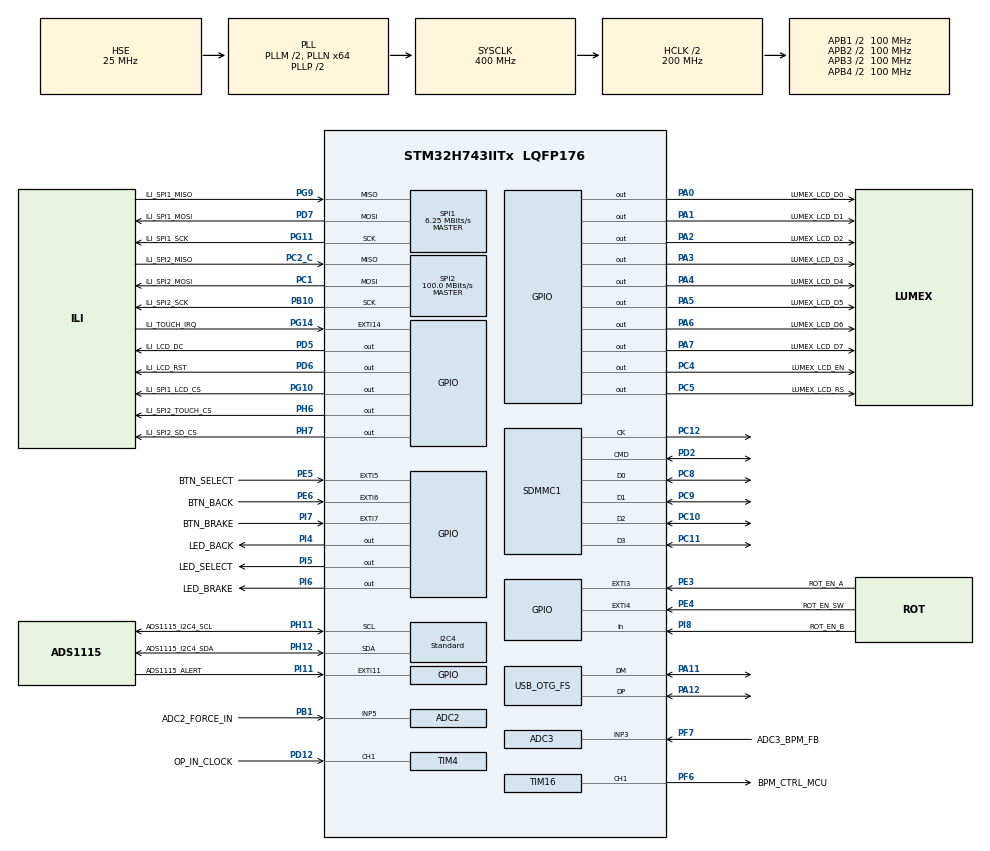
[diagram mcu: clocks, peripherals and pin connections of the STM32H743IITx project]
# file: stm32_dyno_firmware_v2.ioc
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ADC2.Channel-0\#ChannelRegularConversion=ADC_CHANNEL_5
ADC2.ClockPrescaler=ADC_CLOCK_ASYNC_DIV2
ADC2.NbrOfConversionFlag=1
ADC2.OffsetNumber-0\#ChannelRegularConversion=ADC_OFFSET_NONE
ADC2.OffsetSignedSaturation-0\#ChannelRegularConversion=DISABLE
ADC2.Rank-0\#ChannelRegularConversion=1
ADC2.SamplingTime-0\#ChannelRegularConversion=ADC_SAMPLETIME_1CYCLE_5
ADC3.Channel-0\#ChannelRegularConversion=ADC_CHANNEL_3
ADC3.ClockPrescaler=ADC_CLOCK_ASYNC_DIV2
ADC3.NbrOfConversionFlag=1
ADC3.OffsetNumber-0\#ChannelRegularConversion=ADC_OFFSET_NONE
ADC3.OffsetSignedSaturation-0\#ChannelRegularConversion=DISABLE
ADC3.Rank-0\#ChannelRegularConversion=1
ADC3.SamplingTime-0\#ChannelRegularConversion=ADC_SAMPLETIME_1CYCLE_5
CORTEX_M7.default_mode_Activation=1
FREERTOS.Queues01=sessionControllerToDisplay,25,session_controller_to_display,0,Dynamic,NULL,NULL; sessionControllerToBpm,10,session_controller_to_bpm,0,Dynamic,NULL,NULL; sessionControllerToForceSensor,16,bool,0,Dynamic,NULL,NULL; sessionControllerToPidController,5,session_controller_to_pid_controller,0,Dynamic,NULL,NULL; opticalEncoderToPidController,10,optical_encoder_output_data,0,Dynamic,NULL,NULL; pidControllerToBpm,10,float,0,Dynamic,NULL,NULL; sessionControllerToOpticalSensor,16,uint16_t,0,Dynamic,NULL,NULL;sessionControllertoUsbController,16,uint16_t,0,Dynamic,NULL,NULL;taskMonitorToUsbController,50,task_monitor_output_data,0,Dynamic,NULL,NULL;usbToForceSensorCommand,8,usb_task_command,0,Dynamic,NULL,NULL;usbToSessionControllerCommand,8,usb_task_command,0,Dynamic,NULL,NULL;taskToUsbControllerResponse,8,usb_task_completion,0,Dynamic,NULL,NULL;pidControllerToSessionControllerAck,5,bool,0,Dynamic,NULL,NULL
FREERTOS.Tasks01=usbTask,40,512,usbTaskEntryFunction,As weak,NULL,Dynamic,NULL,NULL; bpmTask,40,128,bpmTaskEntryFunction,As external,NULL,Dynamic,NULL,NULL; forceSensorTask,32,256,forceSensorTaskEntryFunction,As external,NULL,Dynamic,NULL,NULL; pidTask,40,256,pidControllerTaskEntryFunction,As external,NULL,Dynamic,NULL,NULL; opticalSensorTask,32,256,opticalSensorTaskEntryFunction,As external,NULL,Dynamic,NULL,NULL;sessionControllerTask,40,256,sessionControllerTaskEntryFunction,As external,NULL,Dynamic,NULL,NULL;lcdDisplayTask,16,256,lcdDisplayTaskEntryFunction,As external,NULL,Dynamic,NULL,NULL;ledBlinkTask,8,128,ledBlinkTaskEntryFunction,As external,NULL,Dynamic,NULL,NULL;taskMonitorTask,40,128,taskMonitorEntryFunction,As external,NULL,Dynamic,NULL,NULL
FREERTOS.configCHECK_FOR_STACK_OVERFLOW=2
FREERTOS.configENABLE_FPU=1
FREERTOS.configMAX_TASK_NAME_LEN=32
FREERTOS.configTOTAL_HEAP_SIZE=46080
FREERTOS.configUSE_NEWLIB_REENTRANT=1
I2C4.I2C_Speed_Mode=I2C_Standard
I2C4.Speed=100
I2C4.Timing=0x00C0EAFF
Mcu.Family=STM32H7
Mcu.Name=STM32H743IITx
Mcu.Package=LQFP176
NVIC.ADC_IRQn=true\:5\:0\:false\:false\:true\:true\:true\:true\:true
NVIC.EXTI15_10_IRQn=true\:5\:0\:false\:false\:true\:true\:true\:true\:true
NVIC.EXTI3_IRQn=true\:5\:0\:false\:false\:true\:true\:true\:true\:true
NVIC.EXTI4_IRQn=true\:5\:0\:false\:false\:true\:true\:true\:true\:true
NVIC.EXTI9_5_IRQn=true\:5\:0\:false\:false\:true\:true\:true\:true\:true
NVIC.OTG_FS_IRQn=true\:5\:0\:false\:false\:true\:true\:false\:true\:true
NVIC.PriorityGroup=NVIC_PRIORITYGROUP_4
NVIC.TIM17_IRQn=true\:15\:0\:false\:false\:true\:false\:false\:true\:true
NVIC.TIM4_IRQn=true\:5\:0\:false\:false\:true\:true\:true\:true\:true
NVIC.TimeBase=TIM17_IRQn
NVIC.TimeBaseIP=TIM17
PA0.GPIO_Label=LUMEX_LCD_D0
PA0.GPIO_PuPd=GPIO_PULLUP
PA0.Signal=GPIO_Output
PA1.GPIO_Label=LUMEX_LCD_D1
PA1.GPIO_PuPd=GPIO_PULLUP
PA1.Signal=GPIO_Output
PA11.Mode=Device_Only
PA11.Signal=USB_OTG_FS_DM
PA12.Mode=Device_Only
PA12.Signal=USB_OTG_FS_DP
PA13\ (JTMS/SWDIO).Signal=DEBUG_JTMS-SWDIO
PA14\ (JTCK/SWCLK).Signal=DEBUG_JTCK-SWCLK
PA2.GPIO_Label=LUMEX_LCD_D2
PA2.GPIO_PuPd=GPIO_PULLUP
PA2.Signal=GPIO_Output
PA3.GPIO_Label=LUMEX_LCD_D3
PA3.GPIO_PuPd=GPIO_PULLUP
PA3.Signal=GPIO_Output
PA4.GPIO_Label=LUMEX_LCD_D4
PA4.GPIO_PuPd=GPIO_PULLUP
PA4.Signal=GPIO_Output
PA5.GPIO_Label=LUMEX_LCD_D5
PA5.GPIO_PuPd=GPIO_PULLUP
PA5.Signal=GPIO_Output
PA6.GPIO_Label=LUMEX_LCD_D6
PA6.GPIO_PuPd=GPIO_PULLUP
PA6.Signal=GPIO_Output
PA7.GPIO_Label=LUMEX_LCD_D7
PA7.GPIO_PuPd=GPIO_PULLUP
PA7.Signal=GPIO_Output
PB1.GPIO_Label=ADC2_FORCE_IN
PB1.Signal=ADCx_INP5
PB10.GPIO_Label=ILI_SPI2_SCK
PB10.Mode=Full_Duplex_Master
PB10.Signal=SPI2_SCK
PC1.GPIO_Label=ILI_SPI2_MOSI
PC1.Mode=Full_Duplex_Master
PC1.Signal=SPI2_MOSI
PC10.Mode=SD_4_bits_Wide_bus
PC10.Signal=SDMMC1_D2
PC11.Mode=SD_4_bits_Wide_bus
PC11.Signal=SDMMC1_D3
PC12.Mode=SD_4_bits_Wide_bus
PC12.Signal=SDMMC1_CK
PC14-OSC32_IN\ (OSC32_IN).Mode=LSE-External-Oscillator
PC14-OSC32_IN\ (OSC32_IN).Signal=RCC_OSC32_IN
PC15-OSC32_OUT\ (OSC32_OUT).Mode=LSE-External-Oscillator
PC15-OSC32_OUT\ (OSC32_OUT).Signal=RCC_OSC32_OUT
PC2_C.GPIO_Label=ILI_SPI2_MISO
PC2_C.GPIO_Speed=GPIO_SPEED_FREQ_LOW
PC2_C.Mode=Full_Duplex_Master
PC2_C.Signal=SPI2_MISO
PC4.GPIO_Label=LUMEX_LCD_EN
PC4.GPIO_PuPd=GPIO_PULLUP
PC4.Signal=GPIO_Output
PC5.GPIO_Label=LUMEX_LCD_RS
PC5.GPIO_PuPd=GPIO_PULLUP
PC5.Signal=GPIO_Output
PC8.Mode=SD_4_bits_Wide_bus
PC8.Signal=SDMMC1_D0
PC9.Mode=SD_4_bits_Wide_bus
PC9.Signal=SDMMC1_D1
PD12.GPIO_Label=OP_IN_CLOCK
PD12.Signal=S_TIM4_CH1
PD2.Mode=SD_4_bits_Wide_bus
PD2.Signal=SDMMC1_CMD
PD5.GPIO_Label=ILI_LCD_DC
PD5.Signal=GPIO_Output
PD6.GPIO_Label=ILI_LCD_RST
PD6.GPIO_Speed=GPIO_SPEED_FREQ_LOW
PD6.PinState=GPIO_PIN_SET
PD6.Signal=GPIO_Output
PD7.GPIO_Label=ILI_SPI1_MOSI
PD7.GPIO_Speed=GPIO_SPEED_FREQ_LOW
PD7.Mode=Full_Duplex_Master
PD7.Signal=SPI1_MOSI
PE3.GPIO_Label=ROT_EN_A
PE3.GPIO_ModeDefaultEXTI=GPIO_MODE_IT_FALLING
PE3.GPIO_PuPd=GPIO_PULLUP
PE3.Signal=GPXTI3
PE4.GPIO_Label=ROT_EN_SW
PE4.GPIO_ModeDefaultEXTI=GPIO_MODE_IT_FALLING
PE4.GPIO_PuPd=GPIO_PULLUP
PE4.Signal=GPXTI4
PE5.GPIO_Label=BTN_SELECT
PE5.GPIO_ModeDefaultEXTI=GPIO_MODE_IT_RISING_FALLING
PE5.GPIO_PuPd=GPIO_PULLUP
PE5.Signal=GPXTI5
PE6.GPIO_Label=BTN_BACK
PE6.GPIO_ModeDefaultEXTI=GPIO_MODE_IT_RISING_FALLING
PE6.GPIO_PuPd=GPIO_PULLUP
PE6.Signal=GPXTI6
PF6.GPIO_Label=BPM_CTRL_MCU
PF6.GPIO_PuPd=GPIO_PULLDOWN
PF6.GPIO_Speed=GPIO_SPEED_FREQ_MEDIUM
PF6.Signal=S_TIM16_CH1
PF7.GPIO_Label=ADC3_BPM_FB
PF7.Mode=IN3-Single-Ended
PF7.Signal=ADC3_INP3
PG10.GPIO_Label=ILI_SPI1_LCD_CS
PG10.GPIO_Speed=GPIO_SPEED_FREQ_MEDIUM
PG10.PinState=GPIO_PIN_SET
PG10.Signal=GPIO_Output
PG11.GPIO_Label=ILI_SPI1_SCK
PG11.GPIO_Speed=GPIO_SPEED_FREQ_LOW
PG11.Mode=Full_Duplex_Master
PG11.Signal=SPI1_SCK
PG14.GPIO_Label=ILI_TOUCH_IRQ
PG14.GPIO_ModeDefaultEXTI=GPIO_MODE_IT_FALLING
PG14.GPIO_PuPd=GPIO_PULLUP
PG14.Signal=GPXTI14
PG9.GPIO_Label=ILI_SPI1_MISO
PG9.GPIO_Speed=GPIO_SPEED_FREQ_LOW
PG9.Mode=Full_Duplex_Master
PG9.Signal=SPI1_MISO
PH0-OSC_IN\ (PH0).Mode=HSE-External-Oscillator
PH0-OSC_IN\ (PH0).Signal=RCC_OSC_IN
PH1-OSC_OUT\ (PH1).Mode=HSE-External-Oscillator
PH1-OSC_OUT\ (PH1).Signal=RCC_OSC_OUT
PH11.GPIO_Label=ADS1115_I2C4_SCL
PH11.Mode=I2C
PH11.Signal=I2C4_SCL
PH12.GPIO_Label=ADS1115_I2C4_SDA
PH12.Mode=I2C
PH12.Signal=I2C4_SDA
PH6.GPIO_Label=ILI_SPI2_TOUCH_CS
PH6.GPIO_Speed=GPIO_SPEED_FREQ_MEDIUM
PH6.Signal=GPIO_Output
PH7.GPIO_Label=ILI_SPI2_SD_CS
PH7.Signal=GPIO_Output
PI11.GPIO_Label=ADS1115_ALERT
PI11.GPIO_ModeDefaultEXTI=GPIO_MODE_IT_FALLING
PI11.GPIO_PuPd=GPIO_PULLUP
PI11.Signal=GPXTI11
PI4.GPIO_Label=LED_BACK
PI4.GPIO_PuPd=GPIO_NOPULL
PI4.PinState=GPIO_PIN_SET
PI4.Signal=GPIO_Output
PI5.GPIO_Label=LED_SELECT
PI5.GPIO_PuPd=GPIO_NOPULL
PI5.PinState=GPIO_PIN_SET
PI5.Signal=GPIO_Output
PI6.GPIO_Label=LED_BRAKE
PI6.GPIO_PuPd=GPIO_NOPULL
PI6.PinState=GPIO_PIN_SET
PI6.Signal=GPIO_Output
PI7.GPIO_Label=BTN_BRAKE
PI7.GPIO_ModeDefaultEXTI=GPIO_MODE_IT_RISING_FALLING
PI7.GPIO_PuPd=GPIO_PULLDOWN
PI7.Signal=GPXTI7
PI8.GPIO_Label=ROT_EN_B
PI8.GPIO_PuPd=GPIO_PULLUP
PI8.Signal=GPIO_Input
ProjectManager.HeapSize=0x200
ProjectManager.StackSize=0x400
ProjectManager.TargetToolchain=CMake
RCC.ADCCLockSelection=RCC_ADCCLKSOURCE_PLL3
RCC.ADCFreq_Value=50000000
RCC.APB1Freq_Value=100000000
RCC.APB2Freq_Value=100000000
RCC.APB3Freq_Value=100000000
RCC.APB4Freq_Value=100000000
RCC.CortexFreq_Value=400000000
RCC.D1PPRE=RCC_APB3_DIV2
RCC.D2PPRE1=RCC_APB1_DIV2
RCC.D2PPRE2=RCC_APB2_DIV2
RCC.D3PPRE=RCC_APB4_DIV2
RCC.DIVM1=2
RCC.DIVM2=2
RCC.DIVM3=2
RCC.DIVN1=64
RCC.DIVN2=32
RCC.DIVN3=32
RCC.DIVQ1=4
RCC.DIVQ2=8
RCC.DIVQ3=8
RCC.DIVR3=8
RCC.HCLKFreq_Value=200000000
RCC.HPRE=RCC_HCLK_DIV2
RCC.I2C123CLockSelection=RCC_I2C123CLKSOURCE_PLL3
RCC.I2C4CLockSelection=RCC_I2C4CLKSOURCE_PLL3
RCC.PLL2FRACN=0
RCC.PLL3FRACN=0
RCC.PLLFRACN=0
RCC.PLLSourceVirtual=RCC_PLLSOURCE_HSE
RCC.SYSCLKFreq_VALUE=400000000
RCC.SYSCLKSource=RCC_SYSCLKSOURCE_PLLCLK
RCC.USBCLockSelection=RCC_USBCLKSOURCE_PLL3
RCC.USBFreq_Value=50000000
SH.ADCx_INP5.0=ADC2_INP5,IN5-Single-Ended
SH.S_TIM16_CH1.0=TIM16_CH1,PWM Generation1 CH1
SH.S_TIM4_CH1.0=TIM4_CH1,TriggerSource_TI1FP1
SPI1.BaudRatePrescaler=SPI_BAUDRATEPRESCALER_32
SPI1.CalculateBaudRate=6.25 MBits/s
SPI1.DataSize=SPI_DATASIZE_8BIT
SPI1.Direction=SPI_DIRECTION_2LINES
SPI1.Mode=SPI_MODE_MASTER
SPI1.VirtualType=VM_MASTER
SPI2.CalculateBaudRate=100.0 MBits/s
SPI2.Direction=SPI_DIRECTION_2LINES
SPI2.Mode=SPI_MODE_MASTER
SPI2.VirtualType=VM_MASTER
TIM16.AutoReloadPreload=TIM_AUTORELOAD_PRELOAD_ENABLE
TIM16.Channel=TIM_CHANNEL_1
TIM16.OCPolarity_1=TIM_OCPOLARITY_HIGH
TIM16.Period=200-1
TIM16.Prescaler=200-1
TIM16.Pulse=0
TIM2.AutoReloadPreload=TIM_AUTORELOAD_PRELOAD_ENABLE
TIM2.Prescaler=200-1
USB_DEVICE.CLASS_NAME_FS=CDC
USB_DEVICE.VirtualMode-CDC_FS=Cdc
USB_DEVICE.VirtualModeFS=Cdc_FS
USB_OTG_FS.VirtualMode=Device_Only
VP_FREERTOS_VS_CMSIS_V2.Mode=CMSIS_V2
VP_MEMORYMAP_VS_MEMORYMAP.Mode=CurAppReg
VP_SYS_VS_tim17.Mode=TIM17
VP_TIM16_VS_ClockSourceINT.Mode=Enable_Timer
VP_TIM1_VS_ClockSourceINT.Mode=Internal
VP_TIM2_VS_ClockSourceINT.Mode=Internal
VP_TIM4_VS_ControllerModeClock.Mode=Clock Mode
VP_USB_DEVICE_VS_USB_DEVICE_CDC_FS.Mode=CDC_FS
board=custom

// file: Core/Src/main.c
/* USER CODE BEGIN Header */
/**
  ******************************************************************************
  * @file           : main.c
  * @brief          : Main program body
  ******************************************************************************
  * @attention
  *
  * Copyright (c) 2025 STMicroelectronics.
  * All rights reserved.
  *
  * This software is licensed under terms that can be found in the LICENSE file
  * in the root directory of this software component.
  * If no LICENSE file comes with this software, it is provided AS-IS.
  *
  ******************************************************************************
  */
/* USER CODE END Header */
#include "main.h"
#include "cmsis_os.h"
#include "usb_device.h"

/* USER CODE BEGIN Includes */
#include <Tasks/BPM/bpm_main.h>
#include <Tasks/ForceSensor/ADC/forcesensor_adc_main.h>
#include <Tasks/ForceSensor/ADS1115/forcesensor_ads1115_main.h>
#include <Tasks/Display/Lumex/lumexlcd_main.h>
#include <Tasks/Display/ILI9341/ili9341_main.h>
#include <Tasks/PID/pid_main.h>
#include <Tasks/OpticalSensor/opticalsensor_main.h>

#include <Tasks/SessionController/input_manager_interrupts.h>
#include <Tasks/SessionController/sessioncontroller_main.h>

#include <Tasks/TaskMonitor/taskmonitor_main.h>

#include <Tasks/USB/usbcontroller_main.h>

#include <Config/debug.h>
#include <Config/sysconfig.h>

#include <MessagePassing/messages_private.h>

#include <TimeKeeping/timestamps.h>

/* USER CODE END Includes */

ADC_HandleTypeDef hadc2;
ADC_HandleTypeDef hadc3;

I2C_HandleTypeDef hi2c4;

SD_HandleTypeDef hsd1;

SPI_HandleTypeDef hspi1;
SPI_HandleTypeDef hspi2;

TIM_HandleTypeDef htim1;
TIM_HandleTypeDef htim2;
TIM_HandleTypeDef htim4;
TIM_HandleTypeDef htim16;

/* Definitions for usbTask */
osThreadId_t usbTaskHandle;
const osThreadAttr_t usbTask_attributes = {
  .name = "usbTask",
  .stack_size = 512 * 4,
  .priority = (osPriority_t) osPriorityHigh,
};
/* Definitions for bpmTask */
osThreadId_t bpmTaskHandle;
const osThreadAttr_t bpmTask_attributes = {
  .name = " bpmTask",
  .stack_size = 128 * 4,
  .priority = (osPriority_t) osPriorityHigh,
};
/* Definitions for forceSensorTask */
osThreadId_t forceSensorTaskHandle;
const osThreadAttr_t forceSensorTask_attributes = {
  .name = " forceSensorTask",
  .stack_size = 256 * 4,
  .priority = (osPriority_t) osPriorityAboveNormal,
};
/* Definitions for pidTask */
osThreadId_t pidTaskHandle;
const osThreadAttr_t pidTask_attributes = {
  .name = " pidTask",
  .stack_size = 256 * 4,
  .priority = (osPriority_t) osPriorityHigh,
};
/* Definitions for opticalSensorTask */
osThreadId_t opticalSensorTaskHandle;
const osThreadAttr_t opticalSensorTask_attributes = {
  .name = " opticalSensorTask",
  .stack_size = 256 * 4,
  .priority = (osPriority_t) osPriorityAboveNormal,
};
/* Definitions for sessionControllerTask */
osThreadId_t sessionControllerTaskHandle;
const osThreadAttr_t sessionControllerTask_attributes = {
  .name = "sessionControllerTask",
  .stack_size = 256 * 4,
  .priority = (osPriority_t) osPriorityHigh,
};
/* Definitions for lcdDisplayTask */
osThreadId_t lcdDisplayTaskHandle;
const osThreadAttr_t lcdDisplayTask_attributes = {
  .name = "lcdDisplayTask",
  .stack_size = 256 * 4,
  .priority = (osPriority_t) osPriorityBelowNormal,
};
/* Definitions for ledBlinkTask */
osThreadId_t ledBlinkTaskHandle;
const osThreadAttr_t ledBlinkTask_attributes = {
  .name = "ledBlinkTask",
  .stack_size = 128 * 4,
  .priority = (osPriority_t) osPriorityLow,
};
/* Definitions for taskMonitorTask */
osThreadId_t taskMonitorTaskHandle;
const osThreadAttr_t taskMonitorTask_attributes = {
  .name = "taskMonitorTask",
  .stack_size = 128 * 4,
  .priority = (osPriority_t) osPriorityHigh,
};
/* Definitions for sessionControllerToDisplay */
osMessageQueueId_t sessionControllerToDisplayHandle;
const osMessageQueueAttr_t sessionControllerToDisplay_attributes = {
  .name = "sessionControllerToDisplay"
};
/* Definitions for sessionControllerToBpm */
osMessageQueueId_t sessionControllerToBpmHandle;
const osMessageQueueAttr_t sessionControllerToBpm_attributes = {
  .name = " sessionControllerToBpm"
};
/* Definitions for sessionControllerToForceSensor */
osMessageQueueId_t sessionControllerToForceSensorHandle;
const osMessageQueueAttr_t sessionControllerToForceSensor_attributes = {
  .name = " sessionControllerToForceSensor"
};
/* Definitions for sessionControllerToPidController */
osMessageQueueId_t sessionControllerToPidControllerHandle;
const osMessageQueueAttr_t sessionControllerToPidController_attributes = {
  .name = " sessionControllerToPidController"
};
/* Definitions for opticalEncoderToPidController */
osMessageQueueId_t opticalEncoderToPidControllerHandle;
const osMessageQueueAttr_t opticalEncoderToPidController_attributes = {
  .name = " opticalEncoderToPidController"
};
/* Definitions for pidControllerToBpm */
osMessageQueueId_t pidControllerToBpmHandle;
const osMessageQueueAttr_t pidControllerToBpm_attributes = {
  .name = " pidControllerToBpm"
};
/* Definitions for sessionControllerToOpticalSensor */
osMessageQueueId_t sessionControllerToOpticalSensorHandle;
const osMessageQueueAttr_t sessionControllerToOpticalSensor_attributes = {
  .name = " sessionControllerToOpticalSensor"
};
/* Definitions for sessionControllertoUsbController */
osMessageQueueId_t sessionControllertoUsbControllerHandle;
const osMessageQueueAttr_t sessionControllertoUsbController_attributes = {
  .name = "sessionControllertoUsbController"
};
/* Definitions for taskMonitorToUsbController */
osMessageQueueId_t taskMonitorToUsbControllerHandle;
const osMessageQueueAttr_t taskMonitorToUsbController_attributes = {
  .name = "taskMonitorToUsbController"
};
/* Definitions for usbToForceSensorCommand */
osMessageQueueId_t usbToForceSensorCommandHandle;
const osMessageQueueAttr_t usbToForceSensorCommand_attributes = {
  .name = "usbToForceSensorCommand"
};
/* Definitions for usbToSessionControllerCommand */
osMessageQueueId_t usbToSessionControllerCommandHandle;
const osMessageQueueAttr_t usbToSessionControllerCommand_attributes = {
  .name = "usbToSessionControllerCommand"
};
/* Definitions for taskToUsbControllerResponse */
osMessageQueueId_t taskToUsbControllerResponseHandle;
const osMessageQueueAttr_t taskToUsbControllerResponse_attributes = {
  .name = "taskToUsbControllerResponse"
};
/* Definitions for pidControllerToSessionControllerAck */
osMessageQueueId_t pidControllerToSessionControllerAckHandle;
const osMessageQueueAttr_t pidControllerToSessionControllerAck_attributes = {
  .name = "pidControllerToSessionControllerAck"
};
/* USER CODE BEGIN PV */
// Force sensor ADC Handle
ADC_HandleTypeDef* forceSensorADCHandle = &hadc2;

// Force sensor ADS1115 I2C Handle
I2C_HandleTypeDef* forceSensorADS1115Handle = &hi2c4;

TIM_HandleTypeDef* timestampTimer = &htim2;

// TIM4 counts optical encoder pulses in hardware: PD12 (OP_IN_CLOCK) drives TI1FP1 and the timer
// runs in external clock mode 1, so CNT *is* the pulse count and no interrupt fires per edge.
TIM_HandleTypeDef* opticalCounterTimer = &htim4;

TIM_HandleTypeDef* bpmTimer = &htim16;

/* USER CODE END PV */

void SystemClock_Config(void);
void PeriphCommonClock_Config(void);
static void MPU_Config(void);
static void MX_GPIO_Init(void);
static void MX_TIM16_Init(void);
static void MX_SDMMC1_SD_Init(void);
static void MX_SPI1_Init(void);
static void MX_SPI2_Init(void);
static void MX_TIM1_Init(void);
static void MX_ADC2_Init(void);
static void MX_TIM2_Init(void);
static void MX_ADC3_Init(void);
static void MX_I2C4_Init(void);
static void MX_TIM4_Init(void);
void usbTaskEntryFunction(void *argument);
extern void bpmTaskEntryFunction(void *argument);
extern void forceSensorTaskEntryFunction(void *argument);
extern void pidControllerTaskEntryFunction(void *argument);
extern void opticalSensorTaskEntryFunction(void *argument);
extern void sessionControllerTaskEntryFunction(void *argument);
extern void lcdDisplayTaskEntryFunction(void *argument);
extern void ledBlinkTaskEntryFunction(void *argument);
extern void taskMonitorEntryFunction(void *argument);

int main(void)
{

  /* MPU Configuration--------------------------------------------------------*/
  MPU_Config();

  /* MCU Configuration--------------------------------------------------------*/

  /* Reset of all peripherals, Initializes the Flash interface and the Systick. */
  HAL_Init();

  /* Configure the system clock */
  SystemClock_Config();

  /* Configure the peripherals common clocks */
  PeriphCommonClock_Config();

  /* Initialize all configured peripherals */
  MX_GPIO_Init();
  MX_TIM16_Init();
  MX_SDMMC1_SD_Init();
  MX_SPI1_Init();
  MX_SPI2_Init();
  MX_TIM1_Init();
  MX_ADC2_Init();
  MX_TIM2_Init();
  MX_ADC3_Init();
  MX_I2C4_Init();
  MX_TIM4_Init();
  /* USER CODE BEGIN 2 */
  /* Brake indicator off, whatever the button is doing right now. It used to be seeded from the
     pin, which lit it whenever the board was reset with the brake held -- showing an engaged brake
     while the FSM comes up idle (and, by design, stays idle until the button is released and
     pressed again). MX_GPIO_Init has already driven it high; this restates it so the reason is
     recorded next to the line that used to do the opposite. Active low: SET is off. */
  HAL_GPIO_WritePin(LED_BRAKE_GPIO_Port, LED_BRAKE_Pin, GPIO_PIN_SET);
  /* Seed the runtime sysconfig store from the config.h defaults before any task runs. */
  sysconfig_init();
  /* Start the free-running microsecond timestamp counter. Every task that stamps a sample or
     times a wait reads it and no single task owns it, so it starts here rather than in whichever
     Init() happens to run first -- which is how it used to work, and it made the display's
     startup depend on a race it could only lose (SessionController runs at osPriorityHigh and
     always claimed the timer first, leaving the display to read an already-started timer as a
     failure and suspend itself).
     The return is deliberately ignored. If TIM2 is configured, MX_TIM2_Init has already called
     Error_Handler on anything that could go wrong, so by this line the handle is READY and the
     start cannot fail. If STM32_PERIPHERAL_TIM2_ENABLE is 0 the timer is deliberately absent and
     halting the board over it would defeat the point of the switch; timestamps read zero and the
     Lumex panel falls back to its bounded spin. */
  (void)start_timestamp_timer();
  /* USER CODE END 2 */

  /* Init scheduler */
  osKernelInitialize();

  /* Create the queue(s) */
  /* creation of sessionControllerToDisplay */
  sessionControllerToDisplayHandle = osMessageQueueNew (25, sizeof(session_controller_to_display), &sessionControllerToDisplay_attributes);

  /* creation of sessionControllerToBpm */
   sessionControllerToBpmHandle = osMessageQueueNew (10, sizeof(session_controller_to_bpm), & sessionControllerToBpm_attributes);

  /* creation of sessionControllerToForceSensor */
   sessionControllerToForceSensorHandle = osMessageQueueNew (16, sizeof(bool), & sessionControllerToForceSensor_attributes);

  /* creation of sessionControllerToPidController */
   sessionControllerToPidControllerHandle = osMessageQueueNew (5, sizeof(session_controller_to_pid_controller), & sessionControllerToPidController_attributes);

  /* creation of opticalEncoderToPidController */
   opticalEncoderToPidControllerHandle = osMessageQueueNew (10, sizeof(optical_encoder_output_data), & opticalEncoderToPidController_attributes);

  /* creation of pidControllerToBpm */
   pidControllerToBpmHandle = osMessageQueueNew (10, sizeof(float), & pidControllerToBpm_attributes);

  /* creation of sessionControllerToOpticalSensor */
   sessionControllerToOpticalSensorHandle = osMessageQueueNew (16, sizeof(uint16_t), & sessionControllerToOpticalSensor_attributes);

  /* creation of sessionControllertoUsbController */
  sessionControllertoUsbControllerHandle = osMessageQueueNew (16, sizeof(uint16_t), &sessionControllertoUsbController_attributes);

  /* creation of taskMonitorToUsbController */
  taskMonitorToUsbControllerHandle = osMessageQueueNew (50, sizeof(task_monitor_output_data), &taskMonitorToUsbController_attributes);

  /* creation of usbToForceSensorCommand */
  usbToForceSensorCommandHandle = osMessageQueueNew (8, sizeof(usb_task_command), &usbToForceSensorCommand_attributes);

  /* creation of usbToSessionControllerCommand */
  usbToSessionControllerCommandHandle = osMessageQueueNew (8, sizeof(usb_task_command), &usbToSessionControllerCommand_attributes);

  /* creation of taskToUsbControllerResponse */
  taskToUsbControllerResponseHandle = osMessageQueueNew (8, sizeof(usb_task_completion), &taskToUsbControllerResponse_attributes);

  /* creation of pidControllerToSessionControllerAck */
  pidControllerToSessionControllerAckHandle = osMessageQueueNew (5, sizeof(bool), &pidControllerToSessionControllerAck_attributes);

  /* USER CODE BEGIN RTOS_QUEUES */
//
  /* USER CODE END RTOS_QUEUES */

  /* Create the thread(s) */
  /* creation of usbTask */
  usbTaskHandle = osThreadNew(usbTaskEntryFunction, NULL, &usbTask_attributes);

  /* creation of bpmTask */
   bpmTaskHandle = osThreadNew(bpmTaskEntryFunction, NULL, & bpmTask_attributes);

  /* creation of forceSensorTask */
   forceSensorTaskHandle = osThreadNew(forceSensorTaskEntryFunction, NULL, & forceSensorTask_attributes);

  /* creation of pidTask */
   pidTaskHandle = osThreadNew(pidControllerTaskEntryFunction, NULL, & pidTask_attributes);

  /* creation of opticalSensorTask */
   opticalSensorTaskHandle = osThreadNew(opticalSensorTaskEntryFunction, NULL, & opticalSensorTask_attributes);

  /* creation of sessionControllerTask */
  sessionControllerTaskHandle = osThreadNew(sessionControllerTaskEntryFunction, NULL, &sessionControllerTask_attributes);

  /* creation of lcdDisplayTask */
  lcdDisplayTaskHandle = osThreadNew(lcdDisplayTaskEntryFunction, NULL, &lcdDisplayTask_attributes);

  /* creation of ledBlinkTask */
  ledBlinkTaskHandle = osThreadNew(ledBlinkTaskEntryFunction, NULL, &ledBlinkTask_attributes);

  /* creation of taskMonitorTask */
  taskMonitorTaskHandle = osThreadNew(taskMonitorEntryFunction, NULL, &taskMonitorTask_attributes);

  /* USER CODE BEGIN RTOS_THREADS */
//  /* add threads, ... */
  /* USER CODE END RTOS_THREADS */

  /* USER CODE BEGIN RTOS_EVENTS */
//  /* add events, ... */
  /* USER CODE END RTOS_EVENTS */

  /* Start scheduler */
  osKernelStart();

  /* We should never get here as control is now taken by the scheduler */

  /* Infinite loop */
  while (1)
  {

  }
}

void SystemClock_Config(void)
{
  RCC_OscInitTypeDef RCC_OscInitStruct = {0};
  RCC_ClkInitTypeDef RCC_ClkInitStruct = {0};

  /** Supply configuration update enable
  */
  HAL_PWREx_ConfigSupply(PWR_LDO_SUPPLY);

  /** Configure the main internal regulator output voltage
  */
  __HAL_PWR_VOLTAGESCALING_CONFIG(PWR_REGULATOR_VOLTAGE_SCALE1);

  while(!__HAL_PWR_GET_FLAG(PWR_FLAG_VOSRDY)) {}

  /** Initializes the RCC Oscillators according to the specified parameters
  * in the RCC_OscInitTypeDef structure.
  */
  RCC_OscInitStruct.OscillatorType = RCC_OSCILLATORTYPE_HSE;
  RCC_OscInitStruct.HSEState = RCC_HSE_ON;
  RCC_OscInitStruct.PLL.PLLState = RCC_PLL_ON;
  RCC_OscInitStruct.PLL.PLLSource = RCC_PLLSOURCE_HSE;
  RCC_OscInitStruct.PLL.PLLM = 2;
  RCC_OscInitStruct.PLL.PLLN = 64;
  RCC_OscInitStruct.PLL.PLLP = 2;
  RCC_OscInitStruct.PLL.PLLQ = 4;
  RCC_OscInitStruct.PLL.PLLR = 2;
  RCC_OscInitStruct.PLL.PLLRGE = RCC_PLL1VCIRANGE_3;
  RCC_OscInitStruct.PLL.PLLVCOSEL = RCC_PLL1VCOWIDE;
  RCC_OscInitStruct.PLL.PLLFRACN = 0;
  if (HAL_RCC_OscConfig(&RCC_OscInitStruct) != HAL_OK)
  {
    Error_Handler();
  }

  /** Initializes the CPU, AHB and APB buses clocks
  */
  RCC_ClkInitStruct.ClockType = RCC_CLOCKTYPE_HCLK|RCC_CLOCKTYPE_SYSCLK
                              |RCC_CLOCKTYPE_PCLK1|RCC_CLOCKTYPE_PCLK2
                              |RCC_CLOCKTYPE_D3PCLK1|RCC_CLOCKTYPE_D1PCLK1;
  RCC_ClkInitStruct.SYSCLKSource = RCC_SYSCLKSOURCE_PLLCLK;
  RCC_ClkInitStruct.SYSCLKDivider = RCC_SYSCLK_DIV1;
  RCC_ClkInitStruct.AHBCLKDivider = RCC_HCLK_DIV2;
  RCC_ClkInitStruct.APB3CLKDivider = RCC_APB3_DIV2;
  RCC_ClkInitStruct.APB1CLKDivider = RCC_APB1_DIV2;
  RCC_ClkInitStruct.APB2CLKDivider = RCC_APB2_DIV2;
  RCC_ClkInitStruct.APB4CLKDivider = RCC_APB4_DIV2;

  if (HAL_RCC_ClockConfig(&RCC_ClkInitStruct, FLASH_LATENCY_2) != HAL_OK)
  {
    Error_Handler();
  }
}

void PeriphCommonClock_Config(void)
{
  RCC_PeriphCLKInitTypeDef PeriphClkInitStruct = {0};

  /** Initializes the peripherals clock
  */
  PeriphClkInitStruct.PeriphClockSelection = RCC_PERIPHCLK_USB|RCC_PERIPHCLK_I2C4
                              |RCC_PERIPHCLK_ADC;
  PeriphClkInitStruct.PLL3.PLL3M = 2;
  PeriphClkInitStruct.PLL3.PLL3N = 32;
  PeriphClkInitStruct.PLL3.PLL3P = 2;
  PeriphClkInitStruct.PLL3.PLL3Q = 8;
  PeriphClkInitStruct.PLL3.PLL3R = 8;
  PeriphClkInitStruct.PLL3.PLL3RGE = RCC_PLL3VCIRANGE_3;
  PeriphClkInitStruct.PLL3.PLL3VCOSEL = RCC_PLL3VCOWIDE;
  PeriphClkInitStruct.PLL3.PLL3FRACN = 0;
  PeriphClkInitStruct.UsbClockSelection = RCC_USBCLKSOURCE_PLL3;
  PeriphClkInitStruct.I2c4ClockSelection = RCC_I2C4CLKSOURCE_PLL3;
  PeriphClkInitStruct.AdcClockSelection = RCC_ADCCLKSOURCE_PLL3;
  if (HAL_RCCEx_PeriphCLKConfig(&PeriphClkInitStruct) != HAL_OK)
  {
    Error_Handler();
  }
}

static void MX_ADC2_Init(void)
{

  /* USER CODE BEGIN ADC2_Init 0 */
  #if STM32_PERIPHERAL_ADC2_ENABLE == 0
    return;
  #endif

  /* USER CODE END ADC2_Init 0 */

  ADC_ChannelConfTypeDef sConfig = {0};

  /** Common config
  */
  hadc2.Instance = ADC2;
  hadc2.Init.ClockPrescaler = ADC_CLOCK_ASYNC_DIV2;
  hadc2.Init.Resolution = ADC_RESOLUTION_16B;
  hadc2.Init.ScanConvMode = ADC_SCAN_DISABLE;
  hadc2.Init.EOCSelection = ADC_EOC_SINGLE_CONV;
  hadc2.Init.LowPowerAutoWait = DISABLE;
  hadc2.Init.ContinuousConvMode = DISABLE;
  hadc2.Init.NbrOfConversion = 1;
  hadc2.Init.DiscontinuousConvMode = DISABLE;
  hadc2.Init.ExternalTrigConv = ADC_SOFTWARE_START;
  hadc2.Init.ExternalTrigConvEdge = ADC_EXTERNALTRIGCONVEDGE_NONE;
  hadc2.Init.ConversionDataManagement = ADC_CONVERSIONDATA_DR;
  hadc2.Init.Overrun = ADC_OVR_DATA_PRESERVED;
  hadc2.Init.LeftBitShift = ADC_LEFTBITSHIFT_NONE;
  hadc2.Init.OversamplingMode = DISABLE;
  hadc2.Init.Oversampling.Ratio = 1;
  if (HAL_ADC_Init(&hadc2) != HAL_OK)
  {
    Error_Handler();
  }

  /** Configure Regular Channel
  */
  sConfig.Channel = ADC_CHANNEL_5;
  sConfig.Rank = ADC_REGULAR_RANK_1;
  sConfig.SamplingTime = ADC_SAMPLETIME_1CYCLE_5;
  sConfig.SingleDiff = ADC_SINGLE_ENDED;
  sConfig.OffsetNumber = ADC_OFFSET_NONE;
  sConfig.Offset = 0;
  sConfig.OffsetSignedSaturation = DISABLE;
  if (HAL_ADC_ConfigChannel(&hadc2, &sConfig) != HAL_OK)
  {
    Error_Handler();
  }

}

static void MX_ADC3_Init(void)
{

  /* USER CODE BEGIN ADC3_Init 0 */
  #if STM32_PERIPHERAL_ADC3_ENABLE == 0
    return;
  #endif
  /* USER CODE END ADC3_Init 0 */

  ADC_ChannelConfTypeDef sConfig = {0};

  /** Common config
  */
  hadc3.Instance = ADC3;
  hadc3.Init.ClockPrescaler = ADC_CLOCK_ASYNC_DIV2;
  hadc3.Init.Resolution = ADC_RESOLUTION_16B;
  hadc3.Init.ScanConvMode = ADC_SCAN_DISABLE;
  hadc3.Init.EOCSelection = ADC_EOC_SINGLE_CONV;
  hadc3.Init.LowPowerAutoWait = DISABLE;
  hadc3.Init.ContinuousConvMode = DISABLE;
  hadc3.Init.NbrOfConversion = 1;
  hadc3.Init.DiscontinuousConvMode = DISABLE;
  hadc3.Init.ExternalTrigConv = ADC_SOFTWARE_START;
  hadc3.Init.ExternalTrigConvEdge = ADC_EXTERNALTRIGCONVEDGE_NONE;
  hadc3.Init.ConversionDataManagement = ADC_CONVERSIONDATA_DR;
  hadc3.Init.Overrun = ADC_OVR_DATA_PRESERVED;
  hadc3.Init.LeftBitShift = ADC_LEFTBITSHIFT_NONE;
  hadc3.Init.OversamplingMode = DISABLE;
  hadc3.Init.Oversampling.Ratio = 1;
  if (HAL_ADC_Init(&hadc3) != HAL_OK)
  {
    Error_Handler();
  }

  /** Configure Regular Channel
  */
  sConfig.Channel = ADC_CHANNEL_3;
  sConfig.Rank = ADC_REGULAR_RANK_1;
  sConfig.SamplingTime = ADC_SAMPLETIME_1CYCLE_5;
  sConfig.SingleDiff = ADC_SINGLE_ENDED;
  sConfig.OffsetNumber = ADC_OFFSET_NONE;
  sConfig.Offset = 0;
  sConfig.OffsetSignedSaturation = DISABLE;
  if (HAL_ADC_ConfigChannel(&hadc3, &sConfig) != HAL_OK)
  {
    Error_Handler();
  }

}

static void MX_I2C4_Init(void)
{

  /* USER CODE BEGIN I2C4_Init 0 */
  #if STM32_PERIPHERAL_I2C4_ENABLE == 0
    return;
  #endif
  /* USER CODE END I2C4_Init 0 */

  hi2c4.Instance = I2C4;
  hi2c4.Init.Timing = 0x00C0EAFF;
  hi2c4.Init.OwnAddress1 = 0;
  hi2c4.Init.AddressingMode = I2C_ADDRESSINGMODE_7BIT;
  hi2c4.Init.DualAddressMode = I2C_DUALADDRESS_DISABLE;
  hi2c4.Init.OwnAddress2 = 0;
  hi2c4.Init.OwnAddress2Masks = I2C_OA2_NOMASK;
  hi2c4.Init.GeneralCallMode = I2C_GENERALCALL_DISABLE;
  hi2c4.Init.NoStretchMode = I2C_NOSTRETCH_DISABLE;
  if (HAL_I2C_Init(&hi2c4) != HAL_OK)
  {
    Error_Handler();
  }

  /** Configure Analogue filter
  */
  if (HAL_I2CEx_ConfigAnalogFilter(&hi2c4, I2C_ANALOGFILTER_ENABLE) != HAL_OK)
  {
    Error_Handler();
  }

  /** Configure Digital filter
  */
  if (HAL_I2CEx_ConfigDigitalFilter(&hi2c4, 0) != HAL_OK)
  {
    Error_Handler();
  }

}

static void MX_SDMMC1_SD_Init(void)
{

  /* USER CODE BEGIN SDMMC1_Init 0 */
  #if STM32_PERIPHERAL_SDMMC1_ENABLE == 0
    return;
  #endif
  /* USER CODE END SDMMC1_Init 0 */

  hsd1.Instance = SDMMC1;
  hsd1.Init.ClockEdge = SDMMC_CLOCK_EDGE_RISING;
  hsd1.Init.ClockPowerSave = SDMMC_CLOCK_POWER_SAVE_DISABLE;
  hsd1.Init.BusWide = SDMMC_BUS_WIDE_4B;
  hsd1.Init.HardwareFlowControl = SDMMC_HARDWARE_FLOW_CONTROL_DISABLE;
  hsd1.Init.ClockDiv = 0;
  if (HAL_SD_Init(&hsd1) != HAL_OK)
  {
    Error_Handler();
  }

}

static void MX_SPI1_Init(void)
{

  /* USER CODE BEGIN SPI1_Init 0 */
  #if STM32_PERIPHERAL_SPI1_ENABLE == 0
    return;
  #endif
  /* USER CODE END SPI1_Init 0 */

  /* SPI1 parameter configuration*/
  hspi1.Instance = SPI1;
  hspi1.Init.Mode = SPI_MODE_MASTER;
  hspi1.Init.Direction = SPI_DIRECTION_2LINES;
  hspi1.Init.DataSize = SPI_DATASIZE_8BIT;
  hspi1.Init.CLKPolarity = SPI_POLARITY_LOW;
  hspi1.Init.CLKPhase = SPI_PHASE_1EDGE;
  hspi1.Init.NSS = SPI_NSS_SOFT;
  hspi1.Init.BaudRatePrescaler = SPI_BAUDRATEPRESCALER_32;
  hspi1.Init.FirstBit = SPI_FIRSTBIT_MSB;
  hspi1.Init.TIMode = SPI_TIMODE_DISABLE;
  hspi1.Init.CRCCalculation = SPI_CRCCALCULATION_DISABLE;
  hspi1.Init.CRCPolynomial = 0x0;
  hspi1.Init.NSSPMode = SPI_NSS_PULSE_ENABLE;
  hspi1.Init.NSSPolarity = SPI_NSS_POLARITY_LOW;
  hspi1.Init.FifoThreshold = SPI_FIFO_THRESHOLD_01DATA;
  hspi1.Init.TxCRCInitializationPattern = SPI_CRC_INITIALIZATION_ALL_ZERO_PATTERN;
  hspi1.Init.RxCRCInitializationPattern = SPI_CRC_INITIALIZATION_ALL_ZERO_PATTERN;
  hspi1.Init.MasterSSIdleness = SPI_MASTER_SS_IDLENESS_00CYCLE;
  hspi1.Init.MasterInterDataIdleness = SPI_MASTER_INTERDATA_IDLENESS_00CYCLE;
  hspi1.Init.MasterReceiverAutoSusp = SPI_MASTER_RX_AUTOSUSP_DISABLE;
  hspi1.Init.MasterKeepIOState = SPI_MASTER_KEEP_IO_STATE_DISABLE;
  hspi1.Init.IOSwap = SPI_IO_SWAP_DISABLE;
  if (HAL_SPI_Init(&hspi1) != HAL_OK)
  {
    Error_Handler();
  }

}

static void MX_SPI2_Init(void)
{

  /* USER CODE BEGIN SPI2_Init 0 */
  #if STM32_PERIPHERAL_SPI2_ENABLE == 0
    return;
  #endif
  /* USER CODE END SPI2_Init 0 */

  /* SPI2 parameter configuration*/
  hspi2.Instance = SPI2;
  hspi2.Init.Mode = SPI_MODE_MASTER;
  hspi2.Init.Direction = SPI_DIRECTION_2LINES;
  hspi2.Init.DataSize = SPI_DATASIZE_4BIT;
  hspi2.Init.CLKPolarity = SPI_POLARITY_LOW;
  hspi2.Init.CLKPhase = SPI_PHASE_1EDGE;
  hspi2.Init.NSS = SPI_NSS_SOFT;
  hspi2.Init.BaudRatePrescaler = SPI_BAUDRATEPRESCALER_2;
  hspi2.Init.FirstBit = SPI_FIRSTBIT_MSB;
  hspi2.Init.TIMode = SPI_TIMODE_DISABLE;
  hspi2.Init.CRCCalculation = SPI_CRCCALCULATION_DISABLE;
  hspi2.Init.CRCPolynomial = 0x0;
  hspi2.Init.NSSPMode = SPI_NSS_PULSE_ENABLE;
  hspi2.Init.NSSPolarity = SPI_NSS_POLARITY_LOW;
  hspi2.Init.FifoThreshold = SPI_FIFO_THRESHOLD_01DATA;
  hspi2.Init.TxCRCInitializationPattern = SPI_CRC_INITIALIZATION_ALL_ZERO_PATTERN;
  hspi2.Init.RxCRCInitializationPattern = SPI_CRC_INITIALIZATION_ALL_ZERO_PATTERN;
  hspi2.Init.MasterSSIdleness = SPI_MASTER_SS_IDLENESS_00CYCLE;
  hspi2.Init.MasterInterDataIdleness = SPI_MASTER_INTERDATA_IDLENESS_00CYCLE;
  hspi2.Init.MasterReceiverAutoSusp = SPI_MASTER_RX_AUTOSUSP_DISABLE;
  hspi2.Init.MasterKeepIOState = SPI_MASTER_KEEP_IO_STATE_DISABLE;
  hspi2.Init.IOSwap = SPI_IO_SWAP_DISABLE;
  if (HAL_SPI_Init(&hspi2) != HAL_OK)
  {
    Error_Handler();
  }

}

static void MX_TIM1_Init(void)
{

  /* USER CODE BEGIN TIM1_Init 0 */
  #if STM32_PERIPHERAL_TIM1_ENABLE == 0
    return;
  #endif
  /* USER CODE END TIM1_Init 0 */

  TIM_ClockConfigTypeDef sClockSourceConfig = {0};
  TIM_MasterConfigTypeDef sMasterConfig = {0};

  htim1.Instance = TIM1;
  htim1.Init.Prescaler = 0;
  htim1.Init.CounterMode = TIM_COUNTERMODE_UP;
  htim1.Init.Period = 65535;
  htim1.Init.ClockDivision = TIM_CLOCKDIVISION_DIV1;
  htim1.Init.RepetitionCounter = 0;
  htim1.Init.AutoReloadPreload = TIM_AUTORELOAD_PRELOAD_DISABLE;
  if (HAL_TIM_Base_Init(&htim1) != HAL_OK)
  {
    Error_Handler();
  }
  sClockSourceConfig.ClockSource = TIM_CLOCKSOURCE_INTERNAL;
  if (HAL_TIM_ConfigClockSource(&htim1, &sClockSourceConfig) != HAL_OK)
  {
    Error_Handler();
  }
  sMasterConfig.MasterOutputTrigger = TIM_TRGO_RESET;
  sMasterConfig.MasterOutputTrigger2 = TIM_TRGO2_RESET;
  sMasterConfig.MasterSlaveMode = TIM_MASTERSLAVEMODE_DISABLE;
  if (HAL_TIMEx_MasterConfigSynchronization(&htim1, &sMasterConfig) != HAL_OK)
  {
    Error_Handler();
  }

}

static void MX_TIM2_Init(void)
{

  /* USER CODE BEGIN TIM2_Init 0 */
  #if STM32_PERIPHERAL_TIM2_ENABLE == 0
    return;
  #endif
  /* USER CODE END TIM2_Init 0 */

  TIM_ClockConfigTypeDef sClockSourceConfig = {0};
  TIM_MasterConfigTypeDef sMasterConfig = {0};

  htim2.Instance = TIM2;
  htim2.Init.Prescaler = 200-1;
  htim2.Init.CounterMode = TIM_COUNTERMODE_UP;
  htim2.Init.Period = 4294967295;
  htim2.Init.ClockDivision = TIM_CLOCKDIVISION_DIV1;
  htim2.Init.AutoReloadPreload = TIM_AUTORELOAD_PRELOAD_ENABLE;
  if (HAL_TIM_Base_Init(&htim2) != HAL_OK)
  {
    Error_Handler();
  }
  sClockSourceConfig.ClockSource = TIM_CLOCKSOURCE_INTERNAL;
  if (HAL_TIM_ConfigClockSource(&htim2, &sClockSourceConfig) != HAL_OK)
  {
    Error_Handler();
  }
  sMasterConfig.MasterOutputTrigger = TIM_TRGO_RESET;
  sMasterConfig.MasterSlaveMode = TIM_MASTERSLAVEMODE_DISABLE;
  if (HAL_TIMEx_MasterConfigSynchronization(&htim2, &sMasterConfig) != HAL_OK)
  {
    Error_Handler();
  }

}

static void MX_TIM4_Init(void)
{

  TIM_SlaveConfigTypeDef sSlaveConfig = {0};
  TIM_MasterConfigTypeDef sMasterConfig = {0};

  htim4.Instance = TIM4;
  htim4.Init.Prescaler = 0;
  htim4.Init.CounterMode = TIM_COUNTERMODE_UP;
  htim4.Init.Period = 65535;
  htim4.Init.ClockDivision = TIM_CLOCKDIVISION_DIV1;
  htim4.Init.AutoReloadPreload = TIM_AUTORELOAD_PRELOAD_DISABLE;
  if (HAL_TIM_Base_Init(&htim4) != HAL_OK)
  {
    Error_Handler();
  }
  sSlaveConfig.SlaveMode = TIM_SLAVEMODE_EXTERNAL1;
  sSlaveConfig.InputTrigger = TIM_TS_TI1FP1;
  sSlaveConfig.TriggerPolarity = TIM_TRIGGERPOLARITY_RISING;
  sSlaveConfig.TriggerFilter = 0;
  if (HAL_TIM_SlaveConfigSynchro(&htim4, &sSlaveConfig) != HAL_OK)
  {
    Error_Handler();
  }
  sMasterConfig.MasterOutputTrigger = TIM_TRGO_RESET;
  sMasterConfig.MasterSlaveMode = TIM_MASTERSLAVEMODE_DISABLE;
  if (HAL_TIMEx_MasterConfigSynchronization(&htim4, &sMasterConfig) != HAL_OK)
  {
    Error_Handler();
  }

}

static void MX_TIM16_Init(void)
{

  /* USER CODE BEGIN TIM16_Init 0 */
  #if STM32_PERIPHERAL_TIM16_ENABLE == 0
    return;
  #endif
  /* USER CODE END TIM16_Init 0 */

  TIM_OC_InitTypeDef sConfigOC = {0};
  TIM_BreakDeadTimeConfigTypeDef sBreakDeadTimeConfig = {0};

  htim16.Instance = TIM16;
  htim16.Init.Prescaler = 200-1;
  htim16.Init.CounterMode = TIM_COUNTERMODE_UP;
  htim16.Init.Period = 200-1;
  htim16.Init.ClockDivision = TIM_CLOCKDIVISION_DIV1;
  htim16.Init.RepetitionCounter = 0;
  htim16.Init.AutoReloadPreload = TIM_AUTORELOAD_PRELOAD_ENABLE;
  if (HAL_TIM_Base_Init(&htim16) != HAL_OK)
  {
    Error_Handler();
  }
  if (HAL_TIM_PWM_Init(&htim16) != HAL_OK)
  {
    Error_Handler();
  }
  sConfigOC.OCMode = TIM_OCMODE_PWM1;
  sConfigOC.Pulse = 0;
  sConfigOC.OCPolarity = TIM_OCPOLARITY_HIGH;
  sConfigOC.OCNPolarity = TIM_OCNPOLARITY_HIGH;
  sConfigOC.OCFastMode = TIM_OCFAST_DISABLE;
  sConfigOC.OCIdleState = TIM_OCIDLESTATE_RESET;
  sConfigOC.OCNIdleState = TIM_OCNIDLESTATE_RESET;
  if (HAL_TIM_PWM_ConfigChannel(&htim16, &sConfigOC, TIM_CHANNEL_1) != HAL_OK)
  {
    Error_Handler();
  }
  sBreakDeadTimeConfig.OffStateRunMode = TIM_OSSR_DISABLE;
  sBreakDeadTimeConfig.OffStateIDLEMode = TIM_OSSI_DISABLE;
  sBreakDeadTimeConfig.LockLevel = TIM_LOCKLEVEL_OFF;
  sBreakDeadTimeConfig.DeadTime = 0;
  sBreakDeadTimeConfig.BreakState = TIM_BREAK_DISABLE;
  sBreakDeadTimeConfig.BreakPolarity = TIM_BREAKPOLARITY_HIGH;
  sBreakDeadTimeConfig.BreakFilter = 0;
  sBreakDeadTimeConfig.AutomaticOutput = TIM_AUTOMATICOUTPUT_DISABLE;
  if (HAL_TIMEx_ConfigBreakDeadTime(&htim16, &sBreakDeadTimeConfig) != HAL_OK)
  {
    Error_Handler();
  }
  HAL_TIM_MspPostInit(&htim16);

}

static void MX_GPIO_Init(void)
{
  GPIO_InitTypeDef GPIO_InitStruct = {0};
  /* USER CODE BEGIN MX_GPIO_Init_1 */
  #if STM32_PERIPHERAL_GPIO_ENABLE == 0
    return;
  #endif
  /* USER CODE END MX_GPIO_Init_1 */

  /* GPIO Ports Clock Enable */
  __HAL_RCC_GPIOE_CLK_ENABLE();
  __HAL_RCC_GPIOI_CLK_ENABLE();
  __HAL_RCC_GPIOC_CLK_ENABLE();
  __HAL_RCC_GPIOF_CLK_ENABLE();
  __HAL_RCC_GPIOH_CLK_ENABLE();
  __HAL_RCC_GPIOA_CLK_ENABLE();
  __HAL_RCC_GPIOB_CLK_ENABLE();
  __HAL_RCC_GPIOD_CLK_ENABLE();
  __HAL_RCC_GPIOG_CLK_ENABLE();

  /*Configure GPIO pin Output Level */
  HAL_GPIO_WritePin(GPIOA, LUMEX_LCD_D0_Pin|LUMEX_LCD_D1_Pin|LUMEX_LCD_D2_Pin|LUMEX_LCD_D3_Pin
                          |LUMEX_LCD_D4_Pin|LUMEX_LCD_D5_Pin|LUMEX_LCD_D6_Pin|LUMEX_LCD_D7_Pin, GPIO_PIN_RESET);

  /*Configure GPIO pin Output Level */
  HAL_GPIO_WritePin(GPIOC, LUMEX_LCD_EN_Pin|LUMEX_LCD_RS_Pin, GPIO_PIN_RESET);

  /*Configure GPIO pin Output Level */
  HAL_GPIO_WritePin(GPIOH, ILI_SPI2_TOUCH_CS_Pin|ILI_SPI2_SD_CS_Pin, GPIO_PIN_RESET);

  /*Configure GPIO pin Output Level */
  HAL_GPIO_WritePin(ILI_LCD_DC_GPIO_Port, ILI_LCD_DC_Pin, GPIO_PIN_RESET);

  /*Configure GPIO pin Output Level */
  HAL_GPIO_WritePin(ILI_LCD_RST_GPIO_Port, ILI_LCD_RST_Pin, GPIO_PIN_SET);

  /*Configure GPIO pin Output Level */
  HAL_GPIO_WritePin(ILI_SPI1_LCD_CS_GPIO_Port, ILI_SPI1_LCD_CS_Pin, GPIO_PIN_SET);

  /*Configure GPIO pin Output Level */
  HAL_GPIO_WritePin(GPIOI, LED_BACK_Pin|LED_SELECT_Pin|LED_BRAKE_Pin, GPIO_PIN_SET);

  /*Configure GPIO pins : ROT_EN_A_Pin ROT_EN_SW_Pin */
  GPIO_InitStruct.Pin = ROT_EN_A_Pin|ROT_EN_SW_Pin;
  GPIO_InitStruct.Mode = GPIO_MODE_IT_FALLING;
  GPIO_InitStruct.Pull = GPIO_PULLUP;
  HAL_GPIO_Init(GPIOE, &GPIO_InitStruct);

  /*Configure GPIO pins : BTN_SELECT_Pin BTN_BACK_Pin */
  GPIO_InitStruct.Pin = BTN_SELECT_Pin|BTN_BACK_Pin;
  GPIO_InitStruct.Mode = GPIO_MODE_IT_RISING_FALLING;
  GPIO_InitStruct.Pull = GPIO_PULLUP;
  HAL_GPIO_Init(GPIOE, &GPIO_InitStruct);

  /*Configure GPIO pin : ROT_EN_B_Pin */
  GPIO_InitStruct.Pin = ROT_EN_B_Pin;
  GPIO_InitStruct.Mode = GPIO_MODE_INPUT;
  GPIO_InitStruct.Pull = GPIO_PULLUP;
  HAL_GPIO_Init(ROT_EN_B_GPIO_Port, &GPIO_InitStruct);

  /*Configure GPIO pin : ADS1115_ALERT_Pin */
  GPIO_InitStruct.Pin = ADS1115_ALERT_Pin;
  GPIO_InitStruct.Mode = GPIO_MODE_IT_FALLING;
  GPIO_InitStruct.Pull = GPIO_PULLUP;
  HAL_GPIO_Init(ADS1115_ALERT_GPIO_Port, &GPIO_InitStruct);

  /*Configure GPIO pins : LUMEX_LCD_D0_Pin LUMEX_LCD_D1_Pin LUMEX_LCD_D2_Pin LUMEX_LCD_D3_Pin
                           LUMEX_LCD_D4_Pin LUMEX_LCD_D5_Pin LUMEX_LCD_D6_Pin LUMEX_LCD_D7_Pin */
  GPIO_InitStruct.Pin = LUMEX_LCD_D0_Pin|LUMEX_LCD_D1_Pin|LUMEX_LCD_D2_Pin|LUMEX_LCD_D3_Pin
                          |LUMEX_LCD_D4_Pin|LUMEX_LCD_D5_Pin|LUMEX_LCD_D6_Pin|LUMEX_LCD_D7_Pin;
  GPIO_InitStruct.Mode = GPIO_MODE_OUTPUT_PP;
  GPIO_InitStruct.Pull = GPIO_PULLUP;
  GPIO_InitStruct.Speed = GPIO_SPEED_FREQ_LOW;
  HAL_GPIO_Init(GPIOA, &GPIO_InitStruct);

  /*Configure GPIO pins : LUMEX_LCD_EN_Pin LUMEX_LCD_RS_Pin */
  GPIO_InitStruct.Pin = LUMEX_LCD_EN_Pin|LUMEX_LCD_RS_Pin;
  GPIO_InitStruct.Mode = GPIO_MODE_OUTPUT_PP;
  GPIO_InitStruct.Pull = GPIO_PULLUP;
  GPIO_InitStruct.Speed = GPIO_SPEED_FREQ_LOW;
  HAL_GPIO_Init(GPIOC, &GPIO_InitStruct);

  /*Configure GPIO pin : ILI_SPI2_TOUCH_CS_Pin */
  GPIO_InitStruct.Pin = ILI_SPI2_TOUCH_CS_Pin;
  GPIO_InitStruct.Mode = GPIO_MODE_OUTPUT_PP;
  GPIO_InitStruct.Pull = GPIO_NOPULL;
  GPIO_InitStruct.Speed = GPIO_SPEED_FREQ_MEDIUM;
  HAL_GPIO_Init(ILI_SPI2_TOUCH_CS_GPIO_Port, &GPIO_InitStruct);

  /*Configure GPIO pin : ILI_SPI2_SD_CS_Pin */
  GPIO_InitStruct.Pin = ILI_SPI2_SD_CS_Pin;
  GPIO_InitStruct.Mode = GPIO_MODE_OUTPUT_PP;
  GPIO_InitStruct.Pull = GPIO_NOPULL;
  GPIO_InitStruct.Speed = GPIO_SPEED_FREQ_LOW;
  HAL_GPIO_Init(ILI_SPI2_SD_CS_GPIO_Port, &GPIO_InitStruct);

  /*Configure GPIO pins : ILI_LCD_DC_Pin ILI_LCD_RST_Pin */
  GPIO_InitStruct.Pin = ILI_LCD_DC_Pin|ILI_LCD_RST_Pin;
  GPIO_InitStruct.Mode = GPIO_MODE_OUTPUT_PP;
  GPIO_InitStruct.Pull = GPIO_NOPULL;
  GPIO_InitStruct.Speed = GPIO_SPEED_FREQ_LOW;
  HAL_GPIO_Init(GPIOD, &GPIO_InitStruct);

  /*Configure GPIO pin : ILI_SPI1_LCD_CS_Pin */
  GPIO_InitStruct.Pin = ILI_SPI1_LCD_CS_Pin;
  GPIO_InitStruct.Mode = GPIO_MODE_OUTPUT_PP;
  GPIO_InitStruct.Pull = GPIO_NOPULL;
  GPIO_InitStruct.Speed = GPIO_SPEED_FREQ_MEDIUM;
  HAL_GPIO_Init(ILI_SPI1_LCD_CS_GPIO_Port, &GPIO_InitStruct);

  /*Configure GPIO pin : ILI_TOUCH_IRQ_Pin */
  GPIO_InitStruct.Pin = ILI_TOUCH_IRQ_Pin;
  GPIO_InitStruct.Mode = GPIO_MODE_IT_FALLING;
  GPIO_InitStruct.Pull = GPIO_PULLUP;
  HAL_GPIO_Init(ILI_TOUCH_IRQ_GPIO_Port, &GPIO_InitStruct);

  /*Configure GPIO pins : LED_BACK_Pin LED_SELECT_Pin LED_BRAKE_Pin */
  GPIO_InitStruct.Pin = LED_BACK_Pin|LED_SELECT_Pin|LED_BRAKE_Pin;
  GPIO_InitStruct.Mode = GPIO_MODE_OUTPUT_PP;
  GPIO_InitStruct.Pull = GPIO_NOPULL;
  GPIO_InitStruct.Speed = GPIO_SPEED_FREQ_LOW;
  HAL_GPIO_Init(GPIOI, &GPIO_InitStruct);

  /*Configure GPIO pin : BTN_BRAKE_Pin */
  GPIO_InitStruct.Pin = BTN_BRAKE_Pin;
  GPIO_InitStruct.Mode = GPIO_MODE_IT_RISING_FALLING;
  GPIO_InitStruct.Pull = GPIO_PULLDOWN;
  HAL_GPIO_Init(BTN_BRAKE_GPIO_Port, &GPIO_InitStruct);

  /*AnalogSwitch Config */
  HAL_SYSCFG_AnalogSwitchConfig(SYSCFG_SWITCH_PA0, SYSCFG_SWITCH_PA0_CLOSE);

  /*AnalogSwitch Config */
  HAL_SYSCFG_AnalogSwitchConfig(SYSCFG_SWITCH_PA1, SYSCFG_SWITCH_PA1_CLOSE);

  /* EXTI interrupt init*/
  HAL_NVIC_SetPriority(ROT_EN_A_EXTI_IRQn, 5, 0);
  HAL_NVIC_EnableIRQ(ROT_EN_A_EXTI_IRQn);

  HAL_NVIC_SetPriority(ROT_EN_SW_EXTI_IRQn, 5, 0);
  HAL_NVIC_EnableIRQ(ROT_EN_SW_EXTI_IRQn);

  HAL_NVIC_SetPriority(BTN_SELECT_EXTI_IRQn, 5, 0);
  HAL_NVIC_EnableIRQ(BTN_SELECT_EXTI_IRQn);

  HAL_NVIC_SetPriority(ADS1115_ALERT_EXTI_IRQn, 5, 0);
  HAL_NVIC_EnableIRQ(ADS1115_ALERT_EXTI_IRQn);

}

/* USER CODE BEGIN 4 */
void HAL_ADC_ConvCpltCallback(ADC_HandleTypeDef* hadc)
{
  #if FORCE_SENSOR_ADC_TASK_ENABLE == 1
    if (hadc->Instance == ADC2)
    {
      forcesensor_adc_interrupt();
    }
  #endif
}

void HAL_GPIO_EXTI_Callback(uint16_t GPIO_Pin)
{
	switch(GPIO_Pin)
  {
    #if FORCE_SENSOR_ADS1115_TASK_ENABLE == 1
    case ADS1115_ALERT_Pin:
      forcesensor_ads1115_gpio_alert_interrupt();
      break;
    #endif
    case ROT_EN_A_Pin:
      register_rotary_encoder_input();
      break;
    // Should not ever be triggered, ROT_EN_B should be set up as a basic GPIO Input Pin
    case ROT_EN_B_Pin:
      break;
    case ROT_EN_SW_Pin:
      register_rotary_encoder_sw_input();
      break;
    case BTN_BACK_Pin:
      register_button_back_input();
      break;
    case BTN_SELECT_Pin:
      register_button_select_input();
      break;
    case BTN_BRAKE_Pin:
      register_button_brake_input();
      break;
    case ILI_TOUCH_IRQ_Pin:
      break;
    default:
      break;
  }
}

void forceSensorTaskEntryFunction(void *argument)
{
  #if (!defined(FORCE_SENSOR_ADS1115_TASK_ENABLE) || !defined(FORCE_SENSOR_ADC_TASK_ENABLE))
    #error "FORCE_SENSOR_ADS1115_TASK_ENABLE or FORCE_SENSOR_ADC_TASK_ENABLE is not defined. Please define it as 0 or 1 in the configuration header."
  // Ensure both ADS1115 and ADC tasks can't be enabled at once. Has to be one or the other
  #elif (FORCE_SENSOR_ADS1115_TASK_ENABLE == 1) && (FORCE_SENSOR_ADC_TASK_ENABLE == 1)
    #error "Cannot enable both ADS1115 and ADC Force Sensor modules at the same time!"
  #elif (FORCE_SENSOR_ADS1115_TASK_ENABLE == 0) && (FORCE_SENSOR_ADC_TASK_ENABLE == 0)
     osThreadSuspend(osThreadGetId());
  #elif (FORCE_SENSOR_ADS1115_TASK_ENABLE == 1)
    forcesensor_ads1115_main(sessionControllerToForceSensorHandle, usbToForceSensorCommandHandle, taskToUsbControllerResponseHandle);
  #else
    forcesensor_adc_main(sessionControllerToForceSensorHandle);
  #endif
}

void bpmTaskEntryFunction(void *argument)
{
  #if (!defined(BPM_CONTROLLER_TASK_ENABLE))
  #error "BPM_CONTROLLER_TASK_ENABLE is not defined. Please define it as 0 or 1 in the configuration header."
  #elif BPM_CONTROLLER_TASK_ENABLE == 0
    osThreadSuspend(osThreadGetId());
  #else
    bpm_main(sessionControllerToBpmHandle, pidControllerToBpmHandle);
  #endif

}

void pidControllerTaskEntryFunction(void *argument)
{
  #if (!defined(PID_CONTROLLER_TASK_ENABLE))
  #error "PID_CONTROLLER_TASK_ENABLE is not defined. Please define it as 0 or 1 in the configuration header."
  #elif PID_CONTROLLER_TASK_ENABLE == 0
    osThreadSuspend(osThreadGetId());
  #else
    pid_main(sessionControllerToPidControllerHandle, pidControllerToSessionControllerAckHandle, pidControllerToBpmHandle, PID_INITIAL_STATUS);
  #endif
}

void sessionControllerTaskEntryFunction(void* argument)
{
  #if (!defined(SESSION_CONTROLLER_TASK_ENABLE) || !defined(LUMEX_LCD_TASK_ENABLE) || !defined(ILI9341_LCD_TASK_ENABLE))
  #error "SESSION_CONTROLLER_TASK_ENABLE or the display driver enables are not defined. Please define them as 0 or 1 in the configuration header."
  #elif SESSION_CONTROLLER_TASK_ENABLE == 0
    osThreadSuspend(osThreadGetId());
  #else
        session_controller_os_task_queues tasks = {
            .usb_controller = sessionControllertoUsbControllerHandle,
            .sd_controller = NULL,
            .force_sensor = sessionControllerToForceSensorHandle,
            .optical_sensor = sessionControllerToOpticalSensorHandle,
            .bpm_controller = sessionControllerToBpmHandle,
            .pid_controller = sessionControllerToPidControllerHandle,
            .pid_controller_ack = pidControllerToSessionControllerAckHandle,
            .display = sessionControllerToDisplayHandle,
            .usb_command = usbToSessionControllerCommandHandle,
            .task_completion = taskToUsbControllerResponseHandle
        };
        sessioncontroller_main(&tasks);
  #endif
}

void opticalSensorTaskEntryFunction(void *argument)
{
  #if (!defined(OPTICAL_ENCODER_TASK_ENABLE))
  #error "OPTICAL_ENCODER_TASK_ENABLE is not defined. Please define it as 0 or 1 in the configuration header."
  #elif OPTICAL_ENCODER_TASK_ENABLE == 0
     osThreadSuspend(osThreadGetId());
  #else
    opticalsensor_main(sessionControllerToOpticalSensorHandle);
  #endif

}

void lcdDisplayTaskEntryFunction(void *argument)
{
  /* Config/debug.h allows at most one of these. Both panels read the same queue and the same
     message; with neither enabled the task parks and nothing drives a panel. */
  #if (!defined(LUMEX_LCD_TASK_ENABLE) || !defined(ILI9341_LCD_TASK_ENABLE))
  #error "LUMEX_LCD_TASK_ENABLE / ILI9341_LCD_TASK_ENABLE are not defined. Please define them in the configuration header."
  #elif ILI9341_LCD_TASK_ENABLE == 1
    ili9341_lcd_main(sessionControllerToDisplayHandle);
  #elif LUMEX_LCD_TASK_ENABLE == 1
    lumex_lcd_main(sessionControllerToDisplayHandle);
  #else
    /* No panel compiled in. Suspend rather than return: returning from a task function lands in
       prvTaskExitError, which disables interrupts and spins. The FSM still posts its screen
       state; nothing drains the queue, and the non-blocking puts simply fail. */
    osThreadSuspend(osThreadGetId());
  #endif
}

void ledBlinkTaskEntryFunction(void *argument)
{
	#if (!defined(LED_BLINK_TASK_ENABLE))
  #error "LED_BLINK_TASK_ENABLE is not defined. Please define it as 0 or 1 in the configuration header."
	#elif LED_BLINK_TASK_ENABLE == 0
     osThreadSuspend(osThreadGetId());
  #else
  for(;;)
  {
    // just to check if timestamp is working. Can only be checked using the debugger
    const uint32_t timestamp_for_testing = get_timestamp();
    (void)timestamp_for_testing;
    HAL_GPIO_TogglePin(ILI_SPI2_SD_CS_GPIO_Port, ILI_SPI2_SD_CS_Pin);
    osDelay(sysconfig_get_u32(SYSCFG_LED_TASK_OSDELAY));
  }
  #endif

}

void taskMonitorEntryFunction(void *argument)
{
#if (!defined(TASK_MONITOR_TASK_ENABLE))
  #error "TASK_MONITOR_TASK_ENABLE is not defined. Please define it as 0 or 1 in the configuration header."
#elif TASK_MONITOR_TASK_ENABLE == 0
	 osThreadSuspend(osThreadGetId());
#else
  taskmonitor_osthreadids osthreadids =
  {
      .session_controller = sessionControllerTaskHandle,
      .optical_sensor = opticalSensorTaskHandle,
      .usb_controller = usbTaskHandle,
      .sd_controller = NULL,
      .force_sensor = forceSensorTaskHandle,
      .optical_sensor = opticalSensorTaskHandle,
      .bpm_controller = bpmTaskHandle,
      .pid_controller = pidTaskHandle,
      .pid_controller_ack = pidControllerToSessionControllerAckHandle,
      .display = lcdDisplayTaskHandle
  } ;
  taskmonitor_main(&osthreadids, taskMonitorToUsbControllerHandle);
#endif
}
/* USER CODE END 4 */

__weak void usbTaskEntryFunction(void *argument)
{
  /* init code for USB_DEVICE */
  MX_USB_DEVICE_Init();
  /* USER CODE BEGIN 5 */
  #if (!defined(USB_CONTROLLER_TASK_ENABLE))
  #error "USB_CONTROLLER_TASK_ENABLE is not defined. Please define it as 0 or 1 in the configuration header."
  #elif USB_CONTROLLER_TASK_ENABLE == 0
     osThreadSuspend(osThreadGetId());
  #else
    usbcontroller_main(sessionControllertoUsbControllerHandle, taskMonitorToUsbControllerHandle, usbToForceSensorCommandHandle, usbToSessionControllerCommandHandle, taskToUsbControllerResponseHandle);
  #endif
  /* USER CODE END 5 */
}

 /* MPU Configuration */

void MPU_Config(void)
{
  MPU_Region_InitTypeDef MPU_InitStruct = {0};

  /* Disables the MPU */
  HAL_MPU_Disable();

  /** Initializes and configures the Region and the memory to be protected
  */
  MPU_InitStruct.Enable = MPU_REGION_ENABLE;
  MPU_InitStruct.Number = MPU_REGION_NUMBER0;
  MPU_InitStruct.BaseAddress = 0x0;
  MPU_InitStruct.Size = MPU_REGION_SIZE_4GB;
  MPU_InitStruct.SubRegionDisable = 0x87;
  MPU_InitStruct.TypeExtField = MPU_TEX_LEVEL0;
  MPU_InitStruct.AccessPermission = MPU_REGION_NO_ACCESS;
  MPU_InitStruct.DisableExec = MPU_INSTRUCTION_ACCESS_DISABLE;
  MPU_InitStruct.IsShareable = MPU_ACCESS_SHAREABLE;
  MPU_InitStruct.IsCacheable = MPU_ACCESS_NOT_CACHEABLE;
  MPU_InitStruct.IsBufferable = MPU_ACCESS_NOT_BUFFERABLE;

  HAL_MPU_ConfigRegion(&MPU_InitStruct);
  /* Enables the MPU */
  HAL_MPU_Enable(MPU_PRIVILEGED_DEFAULT);

}

void HAL_TIM_PeriodElapsedCallback(TIM_HandleTypeDef *htim)
{
  if (htim->Instance == TIM17)
  {
    HAL_IncTick();
  }
  /* USER CODE BEGIN Callback 1 */
  else if (htim->Instance == TIM4)
  {
	  // TIM4's counter is 16 bits, so it wraps every 65536 encoder pulses. Counting the wraps
	  // here is what lets the task read a 32-bit pulse total instead of a truncated one.
	  opticalsensor_overflow_interrupt();
  }

  /* USER CODE END Callback 1 */
}

void Error_Handler(void)
{
  __disable_irq();
  while (1)
  {
  }
}
